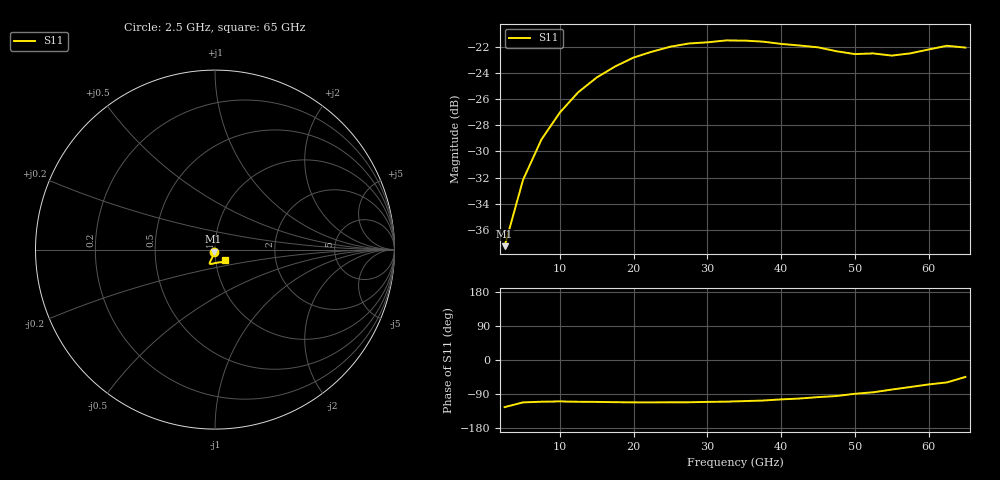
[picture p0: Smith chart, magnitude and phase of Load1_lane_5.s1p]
! File created by SignalIntegrity v1.5.1: Signal and Power Integrity Tools
! https://github.com/Nubis-Communications/SignalIntegrity
# MHz S MA R 50.0
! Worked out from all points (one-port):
!   26 points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, 2.5 GHz to 65 GHz, reference 50 ohm
!   lowest |S11| = -37.3 dB at 2.5 GHz (marker M1), VSWR 1.03, Z = 49.2 - j1.11 ohm
!   |S11| at or under -10 dB: start of sweep to end of sweep
2500  0.0137 -124.3
5000  0.0246 -111.8
7500  0.03517 -110.1
10000  0.04462 -109.3
12500  0.0534 -110.3
15000  0.06079 -110.6
17500  0.06701 -111.3
20000  0.0725 -111.8
22500  0.07637 -111.9
25000  0.0798 -111.5
27500  0.08208 -111.5
30000  0.08291 -110.6
32500  0.0843 -110.0
35000  0.08421 -108.4
37500  0.08344 -107.0
40000  0.08178 -104.0
42500  0.08062 -101.7
45000  0.07935 -98.0
47500  0.07666 -95.1
50000  0.07474 -89.1
52500  0.07518 -85.2
55000  0.07375 -78.1
57500  0.07517 -71.4
60000  0.07782 -64.5
62500  0.08044 -59.1
65000  0.07915 -44.7
